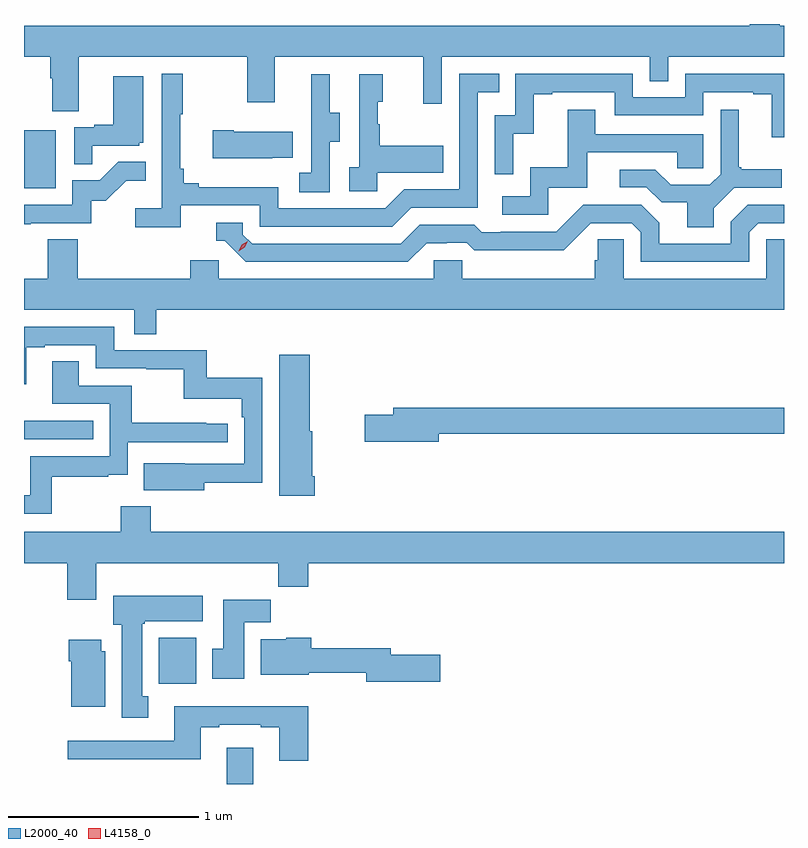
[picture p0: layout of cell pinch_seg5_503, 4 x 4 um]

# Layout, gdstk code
import gdstk
lib = gdstk.Library(unit=1e-6, precision=1e-09)
def R(c, l, rs):  # rectangles x0, y0, x1, y1
    for r in rs: c.add(gdstk.rectangle(r[:2], r[2:], *l))
def P(c, l, *ps):  # polygons
    for p in ps: c.add(gdstk.Polygon(p, *l))
L2000_40 = (2000, 40)
L4158_0 = (4158, 0)

pinch_seg5_503 = lib.new_cell('pinch_seg5_503')
R(pinch_seg5_503, L2000_40, [(938.279,847.605,938.419,847.795), (937.922,848.132,938.119,848.374), (937.212,849.42,937.577,849.516), (937.214,850.74,937.378,851.047)])
P(pinch_seg5_503, L2000_40, [(937.501,851.432),(938.386,851.432),(938.386,851.193),(938.533,851.193),(938.533,851.432),(939.314,851.432),(939.314,851.184),(939.411,851.184),(939.411,851.432),(940.506,851.432),(940.506,851.305),(940.602,851.305),(940.602,851.432),(941.212,851.432),(941.212,851.596),(941.189,851.596),(941.189,851.605),(941.033,851.605),(941.033,851.596),(937.212,851.596),(937.212,851.432),(937.349,851.432),(937.349,851.32),(937.361,851.32),(937.361,851.146),(937.501,851.146)],
  [(938.036,850.65),(938.454,850.65),(938.454,850.539),(939.151,850.539),(939.25,850.638),(939.6,850.638),(939.6,851.247),(939.713,851.247),(939.713,851.343),(939.504,851.343),(939.504,850.734),(939.213,850.734),(939.114,850.635),(938.55,850.635),(938.55,850.747),(938.131,850.747),(938.131,850.766),(938.054,850.766),(938.054,850.843),(938.035,850.843),(938.035,851.131),(938.047,851.131),(938.047,851.344),(937.938,851.344),(937.938,850.636),(937.797,850.636),(937.797,850.534),(938.036,850.534)],
  [(939.786,851.027),(939.896,851.027),(939.896,851.235),(939.991,851.235),(939.991,851.247),(940.32,851.247),(940.32,851.124),(940.788,851.124),(940.788,851.247),(941.051,851.247),(941.051,851.235),(941.147,851.235),(941.147,851.009),(941.212,851.009),(941.212,851.343),(940.692,851.343),(940.692,851.22),(940.416,851.22),(940.416,851.343),(939.798,851.343),(939.798,851.124),(939.69,851.124),(939.69,850.815),(939.786,850.815)],
  [(939.072,850.823),(939.419,850.823),(939.419,850.963),(939.085,850.963),(939.085,851.078),(939.075,851.078),(939.075,851.196),(939.1,851.196),(939.1,851.341),(938.976,851.341),(938.976,850.85),(938.925,850.85),(938.925,850.725),(939.072,850.725)],
  [(938.82,850.984),(938.875,850.984),(938.875,851.139),(938.821,851.139),(938.821,851.341),(938.723,851.341),(938.723,851.127),(938.724,851.127),(938.724,850.823),(938.661,850.823),(938.661,850.72),(938.82,850.72)],
  [(937.571,850.965),(937.818,850.965),(937.818,850.98),(937.84,850.98),(937.84,851.329),(937.682,851.329),(937.682,851.074),(937.583,851.074),(937.583,851.061),(937.476,851.061),(937.476,850.867),(937.571,850.867)],
  [(939.972,850.743),(940.177,850.743),(940.177,850.929),(940.651,850.929),(940.651,850.845),(940.788,850.845),(940.788,851.025),(940.219,851.025),(940.219,851.155),(940.075,851.155),(940.075,850.852),(939.876,850.852),(939.876,850.698),(939.729,850.698),(939.729,850.602),(939.972,850.602)],
  [(940.843,850.636),(940.95,850.743),(941.2,850.743),(941.2,850.84),(940.987,850.84),(940.987,850.852),(940.975,850.852),(940.975,851.155),(940.878,851.155),(940.878,850.815),(940.821,850.758),(940.615,850.758),(940.534,850.839),(940.347,850.839),(940.347,850.746),(940.488,850.746),(940.568,850.666),(940.703,850.666),(940.703,850.534),(940.843,850.534)],
  [(938.519,850.901),(938.627,850.901),(938.627,851.038),(938.317,851.038),(938.317,851.046),(938.205,851.046),(938.205,850.898),(938.519,850.898)],
  [(937.247,850.557),(937.566,850.557),(937.566,850.674),(937.642,850.674),(937.749,850.781),(937.853,850.781),(937.853,850.88),(937.709,850.88),(937.611,850.782),(937.467,850.782),(937.467,850.653),(937.212,850.653),(937.212,850.552),(937.247,850.552)],
  [(939.331,850.452),(939.438,850.452),(939.438,850.455),(939.541,850.455),(939.583,850.413),(939.816,850.413),(939.816,850.415),(940.052,850.415),(940.194,850.557),(940.41,850.557),(940.458,850.509),(940.458,850.353),(941.028,850.353),(941.028,850.509),(941.076,850.557),(941.212,850.557),(941.212,850.653),(941.022,850.653),(940.932,850.563),(940.932,850.449),(940.555,850.449),(940.555,850.559),(940.461,850.653),(940.155,850.653),(940.014,850.512),(939.721,850.512),(939.721,850.509),(939.622,850.509),(939.583,850.548),(939.294,850.548),(939.195,850.449),(938.412,850.449),(938.364,850.497),(938.364,850.56),(938.225,850.56),(938.225,850.464),(938.268,850.464),(938.379,850.353),(939.232,850.353)],
  [(941.212,850.472),(941.118,850.472),(941.118,850.264),(940.368,850.264),(940.368,850.472),(940.231,850.472),(940.231,850.362),(940.217,850.362),(940.217,850.264),(939.519,850.264),(939.519,850.362),(939.369,850.362),(939.369,850.264),(938.238,850.264),(938.238,850.362),(938.087,850.362),(938.087,850.264),(937.496,850.264),(937.496,850.472),(937.336,850.472),(937.336,850.264),(937.212,850.264),(937.212,850.1),(937.791,850.1),(937.791,849.973),(937.907,849.973),(937.907,850.1),(941.212,850.1)],
  [(938.161,849.19),(938.466,849.19),(938.466,849.742),(938.173,849.742),(938.173,849.888),(937.686,849.888),(937.686,850.011),(937.212,850.011),(937.212,849.71),(937.225,849.71),(937.225,849.903),(937.321,849.903),(937.321,849.915),(937.59,849.915),(937.59,849.792),(937.855,849.792),(937.855,849.787),(938.052,849.787),(938.052,849.632),(938.357,849.632),(938.357,849.536),(938.37,849.536),(938.37,849.291),(938.057,849.291),(938.057,849.292),(937.843,849.292),(937.843,849.152),(938.161,849.152)],
  [(938.741,849.226),(938.728,849.226),(938.728,849.462),(938.716,849.462),(938.716,849.865),(938.555,849.865),(938.555,849.122),(938.741,849.122)],
  [(937.357,849.222),(937.655,849.222),(937.655,849.233),(937.758,849.233),(937.758,849.405),(938.284,849.405),(938.284,849.501),(938.171,849.501),(938.171,849.506),(937.778,849.506),(937.778,849.702),(937.501,849.702),(937.501,849.83),(937.361,849.83),(937.361,849.606),(937.662,849.606),(937.662,849.33),(937.246,849.33),(937.246,849.124),(937.212,849.124),(937.212,849.027),(937.357,849.027)],
  [(939.394,849.448),(941.212,849.448),(941.212,849.584),(939.155,849.584),(939.155,849.548),(939.006,849.548),(939.006,849.406),(939.394,849.406)],
  [(937.591,848.768),(938.551,848.768),(938.551,848.644),(938.708,848.644),(938.708,848.768),(941.212,848.768),(941.212,848.932),(937.88,848.932),(937.88,849.067),(937.72,849.067),(937.72,848.932),(937.212,848.932),(937.212,848.768),(937.439,848.768),(937.439,848.574),(937.591,848.574)],
  [(937.867,848.066),(937.834,848.066),(937.834,848.449),(937.848,848.449),(937.848,848.462),(938.152,848.462),(938.152,848.596),(937.682,848.596),(937.682,848.442),(937.727,848.442),(937.727,847.953),(937.867,847.953)],
  [(938.371,848.456),(938.51,848.456),(938.51,848.575),(938.261,848.575),(938.261,848.316),(938.204,848.316),(938.204,848.16),(938.371,848.16)],
  [(939.403,848.286),(939.142,848.286),(939.142,848.32),(938.723,848.32),(938.723,848.374),(938.592,848.374),(938.592,848.368),(938.459,848.368),(938.459,848.18),(938.71,848.18),(938.71,848.191),(939.014,848.191),(939.014,848.144),(939.403,848.144)],
  [(937.639,848.304),(937.618,848.304),(937.618,848.365),(937.448,848.365),(937.448,848.252),(937.46,848.252),(937.46,848.012),(937.639,848.012)],
  [(938.708,848.014),(938.003,848.014),(938.003,847.833),(937.443,847.833),(937.443,847.736),(938.143,847.736),(938.143,847.905),(938.239,847.905),(938.239,847.917),(938.459,847.917),(938.459,847.905),(938.555,847.905),(938.555,847.728),(938.708,847.728)])
P(pinch_seg5_503, L4158_0, [(938.342,850.41),(938.342,850.41),(938.359,850.442),(938.389,850.462),(938.39,850.462),(938.39,850.461),(938.373,850.429),(938.342,850.41)])

lib.write_gds('pinch_seg5_503.gds')
